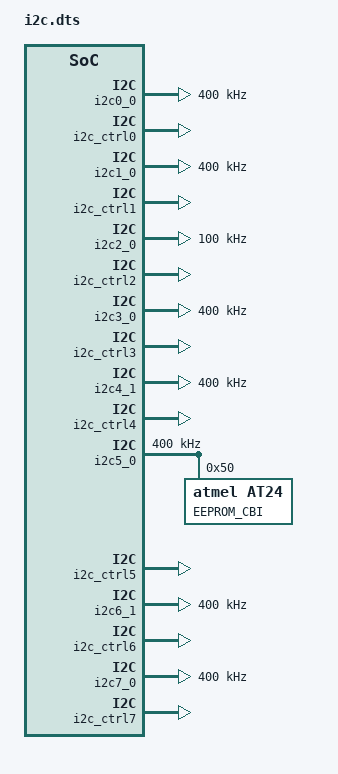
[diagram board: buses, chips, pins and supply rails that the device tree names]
/* Copyright 2021 The Chromium OS Authors. All rights reserved.
 * Use of this source code is governed by a BSD-style license that can be
 * found in the LICENSE file.
 */

/ {
	aliases {
		i2c-0 = &i2c0_0;
		i2c-1 = &i2c1_0;
		i2c-2 = &i2c2_0;
		i2c-3 = &i2c3_0;
		i2c-4 = &i2c4_1;
		i2c-5 = &i2c5_0;
		i2c-7 = &i2c7_0;
	};

	named-i2c-ports {
		compatible = "named-i2c-ports";

		i2c_tcpc0: tcpc0 {
			i2c-port = <&i2c0_0>;
			enum-name = "I2C_PORT_TCPC0";
		};

		i2c_tcpc1: tcpc1 {
			i2c-port = <&i2c1_0>;
			enum-name = "I2C_PORT_TCPC1";
		};

		battery {
			i2c-port = <&i2c2_0>;
			remote-port = <0>;
			enum-name = "I2C_PORT_BATTERY";
		};

		usb-mux {
			i2c-port = <&i2c3_0>;
			enum-name = "I2C_PORT_USB_MUX";
		};

		charger {
			i2c-port = <&i2c4_1>;
			enum-name = "I2C_PORT_CHARGER";
		};

		eeprom {
			i2c-port = <&i2c5_0>;
			enum-name = "I2C_PORT_EEPROM";
		};

		i2c_sensor: sensor {
			i2c-port = <&i2c6_1>;
			enum-name = "I2C_PORT_SENSOR";
		};

		i2c_soc_thermal: soc-thermal {
			i2c-port = <&i2c7_0>;
			enum-name = "I2C_PORT_THERMAL_AP";
		};
	};


};

&i2c0_0 {
	status = "okay";
	label = "I2C_TCPC0";
	clock-frequency = <I2C_BITRATE_FAST>;
};

&i2c_ctrl0 {
	status = "okay";
};

&i2c1_0 {
	status = "okay";
	label = "I2C_TCPC1";
	clock-frequency = <I2C_BITRATE_FAST>;
};

&i2c_ctrl1 {
	status = "okay";
};

&i2c2_0 {
	status = "okay";
	label = "I2C_BATTERY";
	clock-frequency = <I2C_BITRATE_STANDARD>;
};

&i2c_ctrl2 {
	status = "okay";
};

&i2c3_0 {
	status = "okay";
	label = "I2C_USB_MUX";
	clock-frequency = <I2C_BITRATE_FAST>;
};

&i2c_ctrl3 {
	status = "okay";
};

&i2c4_1 {
	status = "okay";
	label = "I2C_CHARGER";
	clock-frequency = <I2C_BITRATE_FAST>;
};

&i2c_ctrl4 {
	status = "okay";
};

&i2c5_0 {
	status = "okay";
	label = "I2C_EEPROM";
	clock-frequency = <I2C_BITRATE_FAST>;

	cbi_eeprom: eeprom@50 {
		compatible = "atmel,at24";
		reg = <0x50>;
		label = "EEPROM_CBI";
		size = <2048>;
		pagesize = <16>;
		address-width = <8>;
		timeout = <5>;
	};
};

&i2c_ctrl5 {
	status = "okay";
};

&i2c6_1 {
	status = "okay";
	label = "I2C_SENSOR";
	clock-frequency = <I2C_BITRATE_FAST>;
};

&i2c_ctrl6 {
	status = "okay";
};

&i2c7_0 {
	status = "okay";
	label = "I2C_THERMAL_AP";
	clock-frequency = <I2C_BITRATE_FAST>;
};

&i2c_ctrl7 {
	status = "okay";
};
